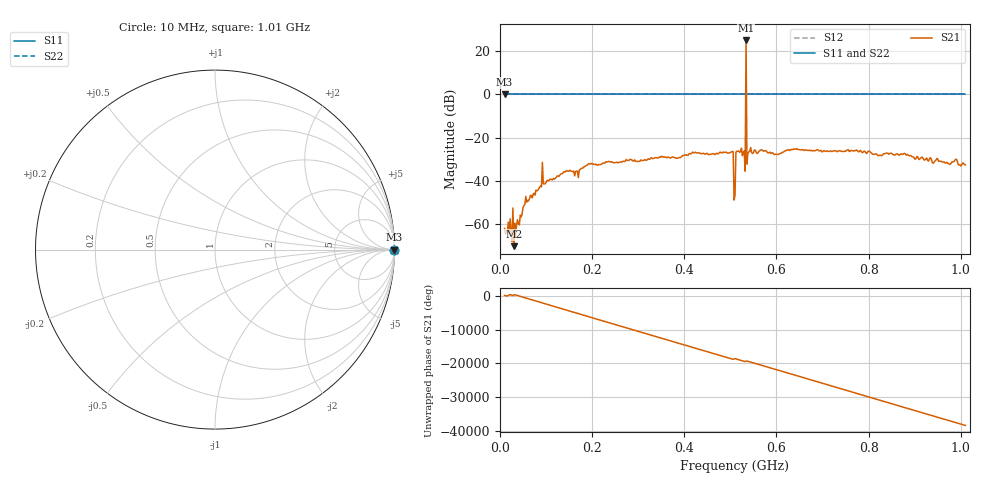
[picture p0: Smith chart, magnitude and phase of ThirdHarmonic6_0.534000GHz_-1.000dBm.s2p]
! 8/15/2025 4:40:44 PM
! C:\ANRITSUVNA\TEMP\TEMP.S2P
! CHANNEL.1
! TR.MEASUREMENT
! RAW.DATA
! RF.CORRECTION.OFF
! AVERAGING.OFF
! IF.BANDWIDTH: 5KHZ
! SWEEPTYPE:  FREQ.SWEEP(Linear)
! Reference Plane Port Info
! PORT:  PORT1  PORT2
! DISTANCE:  0  m  0  m
! TIME:  0  s  0  s
! PHASE.OFFSET:  0  deg.  0  deg.
! LOSS:  0  dB  0  dB
! REF.LOSS:  0  dB  0  dB
! REF.FREQ:  0  Hz  0  Hz
! Power Info
! POWER:  -20  dBm  -20  dBm
! EFF.POWER:  -20  dBm  -20  dBm
! SOURCE.ATTEN:  0  dB  0  dB
! TEST.ATTEN:  0  dB  0  dB
# GHZ S RI R 50.0
! FREQ.GHZ  S11RE  S11IM  S21RE  S21IM  S12RE  S12IM  S22RE  S22IM
!; PortSelection: Port_12
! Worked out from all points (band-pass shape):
!   501 points, 10 MHz to 1.01 GHz, reference 50 ohm
!   highest |S21| = 24.80 dB at 534 MHz (marker M1); lowest = -70.0 dB at 30 MHz (marker M2)
!   |S21| within 3 dB of the highest: 533.9004 MHz to 534.1052 MHz (204.8 kHz wide, 0.0384 % of centre)
!   lowest |S11| = 0.0 dB at 10 MHz (marker M3)
!   |S11| at or under -10 dB: nowhere
!   |S22| runs from 0.0 to 0.0 dB; largest |S21 - S12| = 18
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0.01  1 0  -0.000597 0.000546  1 0  1 0
0.024  1 0  0.000287 -0.00064  1 0  1 0
0.03  1 0  0.000102 -0.000299  1 0  1 0
0.038  1 0  -0.000638 0.00112  1 0  1 0
0.054  1 0  -0.00291 0.000426  1 0  1 0
0.086  1 0  0.00461 -0.00546  1 0  1 0
0.09  1 0  -0.00651 0.00339  1 0  1 0
0.178  1 0  -0.0198 0.000143  1 0  1 0
0.344  1 0  0.0263 -0.0228  1 0  1 0
0.502  1 0  0.0157 0.0441  1 0  1 0
0.506  1 0  -0.00346 -0.0474  1 0  1 0
0.51  1 0  -0.00363 0.00297  1 0  1 0
0.512  1 0  0.0412 0.0208  1 0  1 0
0.516  1 0  -0.0356 -0.0328  1 0  1 0
0.528  1 0  -0.00802 0.0458  1 0  1 0
0.53  1 0  0.045 0.0197  1 0  1 0
0.534  1 0  -4.357 16.83  1 0  1 0
0.538  1 0  0.0276 0.0352  1 0  1 0
0.54  1 0  0.0418 -0.0213  1 0  1 0
0.678  1 0  -0.0483 0.0125  1 0  1 0
0.844  1 0  0.0226 -0.0348  1 0  1 0
1.01  1 0  -6.51e-05 0.0237  1 0  1 0
